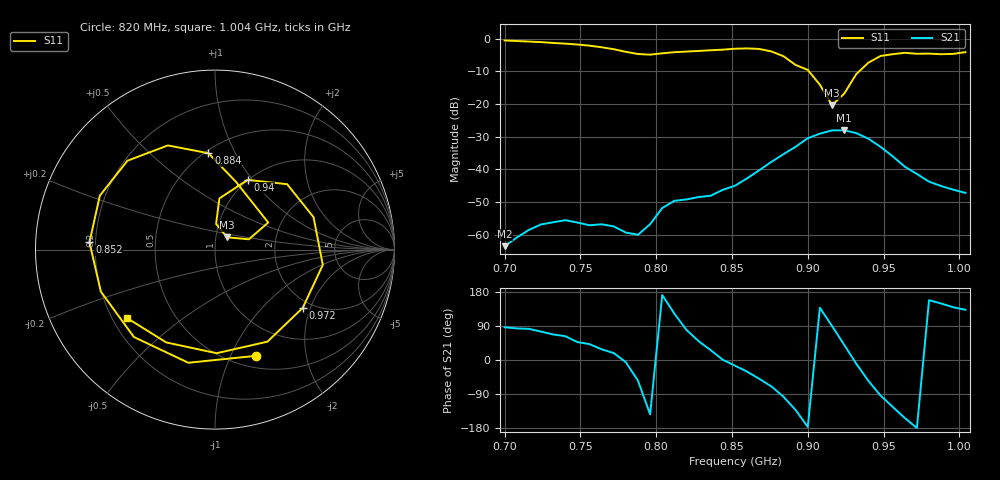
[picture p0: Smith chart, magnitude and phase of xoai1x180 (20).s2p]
# Hz S RI R 50
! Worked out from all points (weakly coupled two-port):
!   39 points, 700 MHz to 1.004 GHz, reference 50 ohm
!   highest |S21| = -28.05 dB at 924 MHz (marker M1); lowest = -63.5 dB at 700 MHz (marker M2)
!   lowest |S11| = -20.3 dB at 916 MHz (marker M3), VSWR 1.21, Z = 56.7 + j7.83 ohm
!   |S11| at or under -10 dB: 900.8 MHz to 934 MHz (33.19 MHz wide, 3.62 % of centre)
!   S12 and S22 are empty: the file has one direction only
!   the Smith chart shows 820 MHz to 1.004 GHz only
!   S11 on the Smith chart (normalised r, x): 820 MHz: 0.63, -1.25; 852 MHz: 0.18, +0.03; 884 MHz: 0.52, +0.79; 940 MHz: 0.99, +0.95; 972 MHz: 1.79, -1.77; 1.004 GHz: 0.26, -0.32
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7e8  0.7587 0.5509  4.12e-05 0.000667  0 0  0 0
7.24e8  0.8477 -0.2516  0.000372 0.00139  0 0  0 0
7.4e8  0.4543 -0.7039  0.000762 0.00149  0 0  0 0
7.56e8  -0.1988 -0.7558  0.00104 0.000932  0 0  0 0
7.72e8  -0.6639 -0.1828  0.00127 0.000419  0 0  0 0
7.8e8  -0.5794 0.2426  0.00107 -0.000109  0 0  0 0
7.88e8  -0.2141 0.5406  0.000577 -0.000816  0 0  0 0
8.04e8  0.5822 0.127  -0.00253 0.000376  0 0  0 0
8.2e8  0.2277 -0.592  0.000641 0.00341  0 0  0 0
8.36e8  -0.4519 -0.487  0.00356 0.00171  0 0  0 0
8.52e8  -0.6994 0.0408  0.00543 -0.00145  0 0  0 0
8.68e8  -0.4878 0.4952  0.00629 -0.00739  0 0  0 0
8.84e8  -0.0366 0.537  -0.00207 -0.0169  0 0  0 0
9e8  0.2965 0.1508  -0.0299 -0.00176  0 0  0 0
9.08e8  0.1888 0.0574  -0.0261 0.0236  0 0  0 0
9.16e8  0.0675 0.0685  0.000298 0.0394  0 0  0 0
9.24e8  0.00602 0.1433  0.0302 0.0256  0 0  0 0
9.4e8  0.1813 0.3885  0.0168 -0.0241  0 0  0 0
9.56e8  0.5491 0.1805  -0.00877 -0.0132  0 0  0 0
9.72e8  0.4889 -0.3244  -0.00851 -9.32e-05  0 0  0 0
9.88e8  0.00909 -0.5773  -0.00476 0.00286  0 0  0 0
1.004e9  -0.4908 -0.3809  -0.00296 0.00321  0 0  0 0
